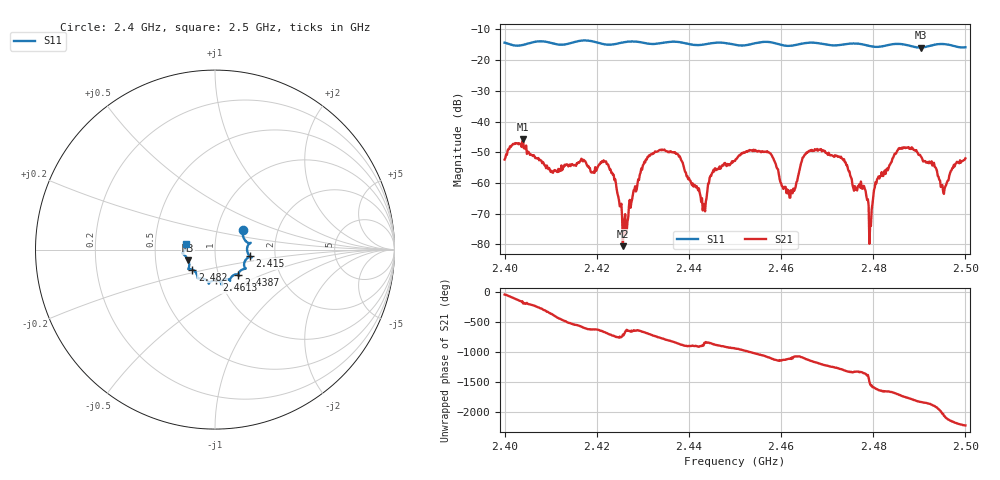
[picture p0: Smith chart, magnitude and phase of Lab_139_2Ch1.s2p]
# Hz S RI R 50
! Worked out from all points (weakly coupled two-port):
!   601 points, 2.4 GHz to 2.5 GHz, reference 50 ohm
!   highest |S21| = -45.77 dB at 2.404 GHz (marker M1); lowest = -80.6 dB at 2.4257 GHz (marker M2)
!   lowest |S11| = -15.9 dB at 2.4903 GHz (marker M3), VSWR 1.38, Z = 36.8 - j4.44 ohm
!   |S11| at or under -10 dB: start of sweep to end of sweep
!   S12 and S22 are empty: the file has one direction only
!   S11 on the Smith chart (normalised r, x): 2.4 GHz: 1.33, +0.31; 2.415 GHz: 1.47, -0.11; 2.4387 GHz: 1.24, -0.36; 2.4613 GHz: 0.96, -0.34; 2.482 GHz: 0.76, -0.17; 2.5 GHz: 0.72, +0.05
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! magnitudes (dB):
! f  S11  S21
! 2.4 GHz  -14.3  -52.3
! 2.404 GHz  -15.1  -45.8
! 2.415 GHz  -14.2  -54.2
! 2.4167 GHz  -13.6  -52.1
! 2.4222 GHz  -14.9  -53.8
! 2.4257 GHz  -14.2  -80.6
! 2.4333 GHz  -14.6  -49.6
! 2.4387 GHz  -14.3  -53.5
! 2.4432 GHz  -14.9  -67.0
! 2.4452 GHz  -14.4  -56.5
! 2.45 GHz  -15.0  -52.8
! 2.4573 GHz  -14.1  -50.0
! 2.4613 GHz  -15.3  -62.1
! 2.4667 GHz  -14.3  -49.2
! 2.4735 GHz  -14.9  -52.5
! 2.4793 GHz  -15.4  -73.5
! 2.482 GHz  -15.5  -57.7
! 2.4833 GHz  -15.0  -55.1
! 2.486 GHz  -14.7  -48.8
! 2.4903 GHz  -15.9  -51.3
! 2.4952 GHz  -14.7  -62.7
! 2.5 GHz  -15.8  -52.0
